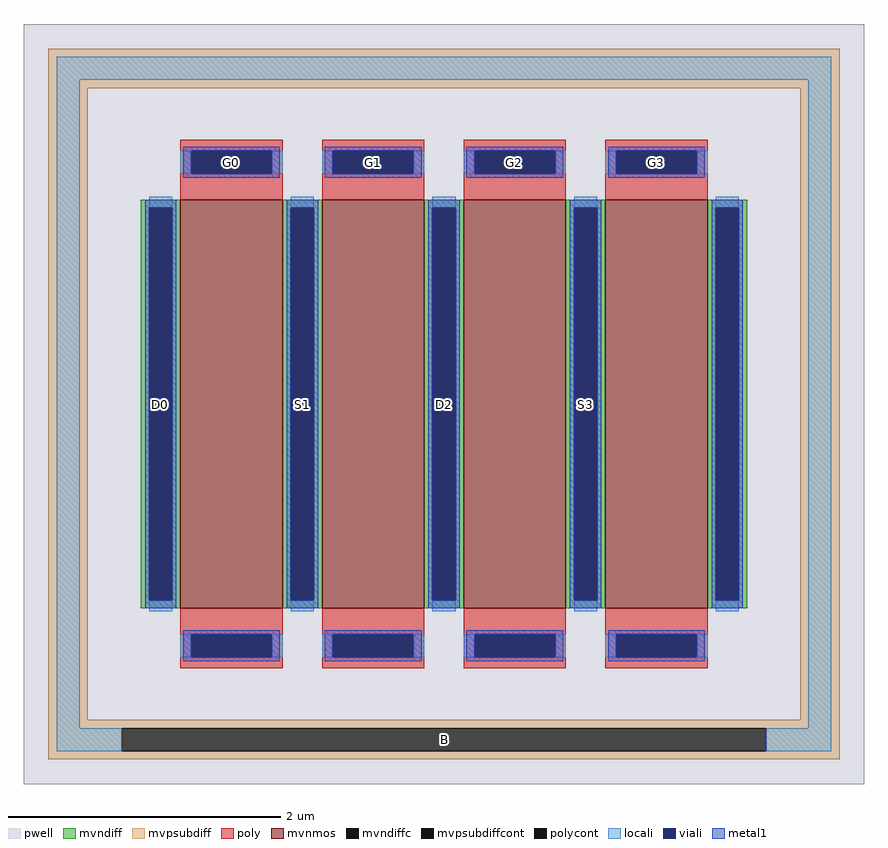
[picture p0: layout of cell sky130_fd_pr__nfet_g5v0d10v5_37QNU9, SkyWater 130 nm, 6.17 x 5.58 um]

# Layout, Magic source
magic
tech sky130A
magscale 1 2
<< pwell >>
rect -617 -558 617 558
<< mvnmos >>
rect -387 -300 -237 300
rect -179 -300 -29 300
rect 29 -300 179 300
rect 237 -300 387 300
<< mvndiff >>
rect -445 288 -387 300
rect -445 -288 -433 288
rect -399 -288 -387 288
rect -445 -300 -387 -288
rect -237 288 -179 300
rect -237 -288 -225 288
rect -191 -288 -179 288
rect -237 -300 -179 -288
rect -29 288 29 300
rect -29 -288 -17 288
rect 17 -288 29 288
rect -29 -300 29 -288
rect 179 288 237 300
rect 179 -288 191 288
rect 225 -288 237 288
rect 179 -300 237 -288
rect 387 288 445 300
rect 387 -288 399 288
rect 433 -288 445 288
rect 387 -300 445 -288
<< mvndiffc >>
rect -433 -288 -399 288
rect -225 -288 -191 288
rect -17 -288 17 288
rect 191 -288 225 288
rect 399 -288 433 288
<< mvpsubdiff >>
rect -581 464 581 522
rect -581 -464 -523 464
rect 523 -464 581 464
rect -581 -476 581 -464
rect -581 -510 -473 -476
rect 473 -510 581 -476
rect -581 -522 581 -510
<< mvpsubdiffcont >>
rect -473 -510 473 -476
<< poly >>
rect -387 372 -237 388
rect -387 338 -371 372
rect -253 338 -237 372
rect -387 300 -237 338
rect -179 372 -29 388
rect -179 338 -163 372
rect -45 338 -29 372
rect -179 300 -29 338
rect 29 372 179 388
rect 29 338 45 372
rect 163 338 179 372
rect 29 300 179 338
rect 237 372 387 388
rect 237 338 253 372
rect 371 338 387 372
rect 237 300 387 338
rect -387 -338 -237 -300
rect -387 -372 -371 -338
rect -253 -372 -237 -338
rect -387 -388 -237 -372
rect -179 -338 -29 -300
rect -179 -372 -163 -338
rect -45 -372 -29 -338
rect -179 -388 -29 -372
rect 29 -338 179 -300
rect 29 -372 45 -338
rect 163 -372 179 -338
rect 29 -388 179 -372
rect 237 -338 387 -300
rect 237 -372 253 -338
rect 371 -372 387 -338
rect 237 -388 387 -372
<< polycont >>
rect -371 338 -253 372
rect -163 338 -45 372
rect 45 338 163 372
rect 253 338 371 372
rect -371 -372 -253 -338
rect -163 -372 -45 -338
rect 45 -372 163 -338
rect 253 -372 371 -338
<< locali >>
rect -569 476 569 510
rect -569 -476 -535 476
rect -387 338 -371 372
rect -253 338 -237 372
rect -179 338 -163 372
rect -45 338 -29 372
rect 29 338 45 372
rect 163 338 179 372
rect 237 338 253 372
rect 371 338 387 372
rect -433 288 -399 304
rect -433 -304 -399 -288
rect -225 288 -191 304
rect -225 -304 -191 -288
rect -17 288 17 304
rect -17 -304 17 -288
rect 191 288 225 304
rect 191 -304 225 -288
rect 399 288 433 304
rect 399 -304 433 -288
rect -387 -372 -371 -338
rect -253 -372 -237 -338
rect -179 -372 -163 -338
rect -45 -372 -29 -338
rect 29 -372 45 -338
rect 163 -372 179 -338
rect 237 -372 253 -338
rect 371 -372 387 -338
rect 535 -476 569 476
rect -569 -510 -473 -476
rect 473 -510 569 -476
<< viali >>
rect -371 338 -253 372
rect -163 338 -45 372
rect 45 338 163 372
rect 253 338 371 372
rect -433 -288 -399 288
rect -225 -288 -191 288
rect -17 -288 17 288
rect 191 -288 225 288
rect 399 -288 433 288
rect -371 -372 -253 -338
rect -163 -372 -45 -338
rect 45 -372 163 -338
rect 253 -372 371 -338
<< metal1 >>
rect -383 372 -241 378
rect -383 338 -371 372
rect -253 338 -241 372
rect -383 332 -241 338
rect -175 372 -33 378
rect -175 338 -163 372
rect -45 338 -33 372
rect -175 332 -33 338
rect 33 372 175 378
rect 33 338 45 372
rect 163 338 175 372
rect 33 332 175 338
rect 241 372 383 378
rect 241 338 253 372
rect 371 338 383 372
rect 241 332 383 338
rect -439 288 -393 300
rect -439 -288 -433 288
rect -399 -288 -393 288
rect -439 -300 -393 -288
rect -231 288 -185 300
rect -231 -288 -225 288
rect -191 -288 -185 288
rect -231 -300 -185 -288
rect -23 288 23 300
rect -23 -288 -17 288
rect 17 -288 23 288
rect -23 -300 23 -288
rect 185 288 231 300
rect 185 -288 191 288
rect 225 -288 231 288
rect 185 -300 231 -288
rect 393 288 439 300
rect 393 -288 399 288
rect 433 -288 439 288
rect 393 -300 439 -288
rect -383 -338 -241 -332
rect -383 -372 -371 -338
rect -253 -372 -241 -338
rect -383 -378 -241 -372
rect -175 -338 -33 -332
rect -175 -372 -163 -338
rect -45 -372 -33 -338
rect -175 -378 -33 -372
rect 33 -338 175 -332
rect 33 -372 45 -338
rect 163 -372 175 -338
rect 33 -378 175 -372
rect 241 -338 383 -332
rect 241 -372 253 -338
rect 371 -372 383 -338
rect 241 -378 383 -372
<< labels >>
rlabel mvpsubdiffcont 0 -493 0 -493 0 B
port 1 nsew
rlabel mvndiffc -416 0 -416 0 0 D0
port 2 nsew
rlabel polycont -312 355 -312 355 0 G0
port 3 nsew
rlabel mvndiffc -208 0 -208 0 0 S1
port 4 nsew
rlabel polycont -104 355 -104 355 0 G1
port 5 nsew
rlabel mvndiffc 0 0 0 0 0 D2
port 6 nsew
rlabel polycont 104 355 104 355 0 G2
port 7 nsew
rlabel mvndiffc 208 0 208 0 0 S3
port 8 nsew
rlabel polycont 312 355 312 355 0 G3
port 9 nsew
<< properties >>
string FIXED_BBOX -552 -493 552 493
string gencell sky130_fd_pr__nfet_g5v0d10v5
string library sky130
string parameters w 3.0 l 0.75 m 1 nf 4 diffcov 100 polycov 100 guard 1 glc 0 grc 0 gtc 0 gbc 1 tbcov 100 rlcov 100 topc 1 botc 1 poverlap 0 doverlap 1 lmin 0.50 wmin 0.42 class mosfet compatible {sky130_fd_pr__nfet_01v8 sky130_fd_pr__nfet_01v8_lvt  sky130_fd_bs_flash__special_sonosfet_star  sky130_fd_pr__nfet_g5v0d10v5 sky130_fd_pr__nfet_05v0_nvt  sky130_fd_pr__nfet_03v3_nvt} full_metal 1 conn_gates 0 viasrc 100 viadrn 100 viagate 100 viagb 0 viagr 0 viagl 0 viagt 0 doports 1
<< end >>
